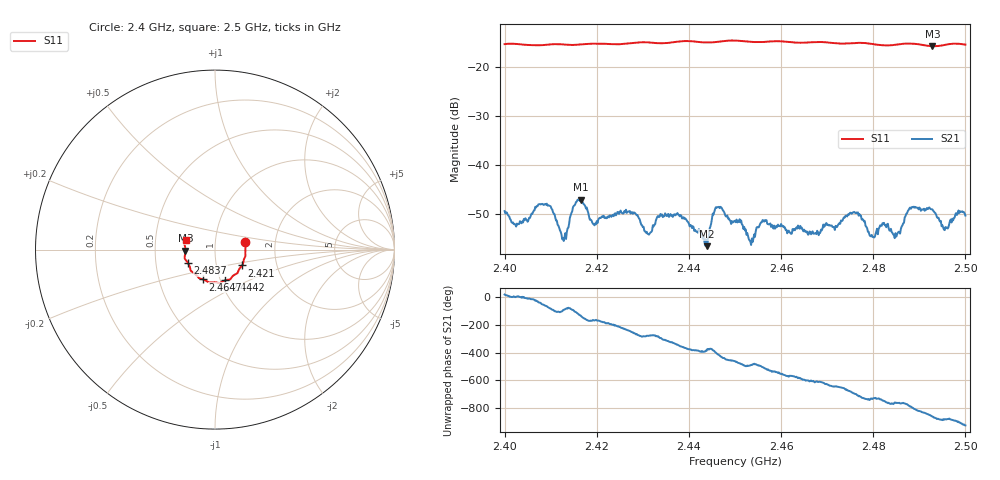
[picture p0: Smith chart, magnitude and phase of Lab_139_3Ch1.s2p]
# Hz S RI R 50
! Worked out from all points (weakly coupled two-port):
!   601 points, 2.4 GHz to 2.5 GHz, reference 50 ohm
!   highest |S21| = -47.10 dB at 2.4165 GHz (marker M1); lowest = -56.7 dB at 2.4438 GHz (marker M2)
!   lowest |S11| = -15.6 dB at 2.4928 GHz (marker M3), VSWR 1.40, Z = 35.8 - j0.395 ohm
!   |S11| at or under -10 dB: start of sweep to end of sweep
!   S12 and S22 are empty: the file has one direction only
!   S11 on the Smith chart (normalised r, x): 2.4 GHz: 1.40, +0.12; 2.421 GHz: 1.33, -0.24; 2.4442 GHz: 1.05, -0.37; 2.4647 GHz: 0.83, -0.28; 2.4837 GHz: 0.73, -0.11; 2.5 GHz: 0.72, +0.08
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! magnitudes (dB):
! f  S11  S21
! 2.4 GHz  -15.2  -49.5
! 2.4095 GHz  -15.3  -48.3
! 2.4128 GHz  -15.3  -55.6
! 2.4165 GHz  -15.3  -47.1
! 2.4167 GHz  -15.3  -47.4
! 2.421 GHz  -15.1  -50.7
! 2.4312 GHz  -14.9  -54.2
! 2.4333 GHz  -15.0  -50.5
! 2.4438 GHz  -14.9  -56.7
! 2.4442 GHz  -14.9  -54.9
! 2.4462 GHz  -14.8  -48.7
! 2.45 GHz  -14.5  -51.5
! 2.4535 GHz  -14.8  -56.4
! 2.4563 GHz  -14.8  -51.6
! 2.4647 GHz  -14.9  -53.2
! 2.4667 GHz  -14.8  -53.9
! 2.4755 GHz  -15.0  -49.8
! 2.4833 GHz  -15.5  -53.0
! 2.4837 GHz  -15.5  -53.5
! 2.4928 GHz  -15.6  -49.1
! 2.4957 GHz  -15.4  -52.7
! 2.5 GHz  -15.3  -50.4
